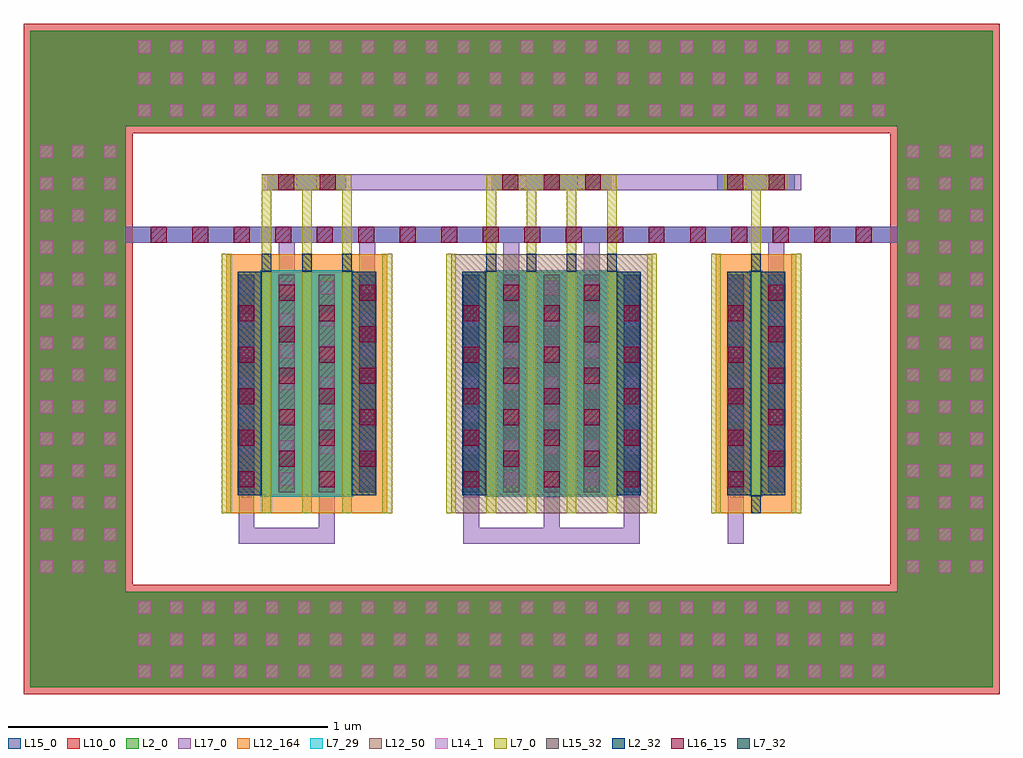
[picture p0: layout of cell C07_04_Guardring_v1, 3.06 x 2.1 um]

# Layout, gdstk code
import gdstk
lib = gdstk.Library(unit=1e-6, precision=1e-09)
def R(c, l, rs):  # rectangles x0, y0, x1, y1
    for r in rs: c.add(gdstk.rectangle(r[:2], r[2:], *l))
def A(c, l, x, y, w, h, nx, ny, dx, dy):  # array of equal rectangles
    R(c, l, [(x+i*dx, y+j*dy, x+i*dx+w, y+j*dy+h) for i in range(nx) for j in range(ny)])
L2_0 = (2, 0)
L2_32 = (2, 32)
L7_0 = (7, 0)
L7_29 = (7, 29)
L7_32 = (7, 32)
L10_0 = (10, 0)
L12_50 = (12, 50)
L12_164 = (12, 164)
L14_1 = (14, 1)
L15_0 = (15, 0)
L15_32 = (15, 32)
L16_15 = (16, 15)
L17_0 = (17, 0)

c07_04_guardring_v1_srf_ = lib.new_cell('C07_04_Guardring_v1:SRF_Tr12Tr3Tr10:SRF_Tr12:SRF_Source_ViaM1M2:SRF_ViaM1M2')
R(c07_04_guardring_v1_srf_, L15_0, [(0,-0.552,0.05,0.082)])
A(c07_04_guardring_v1_srf_, L16_15, 0, -0.52, 0.05, 0.05, 1, 5, 0, 0.13)
R(c07_04_guardring_v1_srf_, L17_0, [(0,-0.552,0.05,0.082)])

c_c07_04_guardring_v1_srf_ = lib.new_cell('C07_04_Guardring_v1:SRF_Tr12Tr3Tr10:SRF_Tr12:SRF_Source_ViaM1M2')
c_c07_04_guardring_v1_srf_.add(gdstk.Reference(c07_04_guardring_v1_srf_, (-0.025,0.235)))

c_c07_04_guardring_v1_srf__ = lib.new_cell('C07_04_Guardring_v1:SRF_Tr12Tr3Tr10:SRF_Tr12:SRF_Drain_ViaM1M2:SRF_ViaM1M2')
R(c_c07_04_guardring_v1_srf__, L15_0, [(0,-0.552,0.05,0.082)])
A(c_c07_04_guardring_v1_srf__, L16_15, 0, -0.52, 0.05, 0.05, 1, 5, 0, 0.13)
R(c_c07_04_guardring_v1_srf__, L17_0, [(0,-0.552,0.05,0.082)])

c_c07_04_guardring_v1_srf___ = lib.new_cell('C07_04_Guardring_v1:SRF_Tr12Tr3Tr10:SRF_Tr12:SRF_Drain_ViaM1M2')
c_c07_04_guardring_v1_srf___.add(gdstk.Reference(c_c07_04_guardring_v1_srf__, (-0.025,0.235)))

c_c07_04_guardring_v1_srf____ = lib.new_cell('C07_04_Guardring_v1:SRF_Tr12Tr3Tr10:SRF_Tr12:SRF_Gate_ViaM0Mx:SRF_ViaM0M1')
R(c_c07_04_guardring_v1_srf____, L7_0, [(-0.01,-0.004,0.15,0.044)])
R(c_c07_04_guardring_v1_srf____, L14_1, [(0,0,0.04,0.04), (0.1,0,0.14,0.04)])
R(c_c07_04_guardring_v1_srf____, L15_0, [(-0.021,-0.005,0.161,0.045)])

c_c07_04_guardring_v1_srf_____ = lib.new_cell('C07_04_Guardring_v1:SRF_Tr12Tr3Tr10:SRF_Tr12:SRF_Gate_ViaM0Mx:SRF_ViaM1M2')
R(c_c07_04_guardring_v1_srf_____, L15_0, [(-0.032,0,0.212,0.05)])
R(c_c07_04_guardring_v1_srf_____, L16_15, [(0,0,0.05,0.05), (0.13,0,0.18,0.05)])
R(c_c07_04_guardring_v1_srf_____, L17_0, [(-0.032,0,0.212,0.05)])

c_c07_04_guardring_v1_srf______ = lib.new_cell('C07_04_Guardring_v1:SRF_Tr12Tr3Tr10:SRF_Tr12:SRF_Gate_ViaM0Mx')
c_c07_04_guardring_v1_srf______.add(gdstk.Reference(c_c07_04_guardring_v1_srf____, (-0.07,-0.02)))
c_c07_04_guardring_v1_srf______.add(gdstk.Reference(c_c07_04_guardring_v1_srf_____, (-0.09,-0.025)))

c_c07_04_guardring_v1_srf_______ = lib.new_cell('C07_04_Guardring_v1:SRF_Tr12Tr3Tr10:SRF_Tr12')
R(c_c07_04_guardring_v1_srf_______, L2_0, [(-0.076,0.057,0.358,0.757)])
R(c_c07_04_guardring_v1_srf_______, L2_32, [(-0.076,0.057,0,0.757), (0.282,0.057,0.358,0.757)])
A(c_c07_04_guardring_v1_srf_______, L7_0, -0.126, 0, 0.03, 0.814, 5, 1, 0.126, 0)
A(c_c07_04_guardring_v1_srf_______, L7_0, 0, 0.814, 0.03, 0.2, 3, 1, 0.126, 0)
R(c_c07_04_guardring_v1_srf_______, L7_0, [(0,1.014,0.282,1.062)])
R(c_c07_04_guardring_v1_srf_______, L7_29, [(-0.005,0.052,0.287,0.762)])
A(c_c07_04_guardring_v1_srf_______, L7_32, 0, 0.757, 0.03, 0.057, 3, 1, 0.126, 0)
R(c_c07_04_guardring_v1_srf_______, L12_164, [(-0.111,0.001,0.393,0.813)])
A(c_c07_04_guardring_v1_srf_______, L14_1, -0.068, 0.087, 0.04, 0.04, 4, 7, 0.126, 0.1)
R(c_c07_04_guardring_v1_srf_______, L15_0, [(-0.073,0.066,-0.023,0.748), (-0.073,0.066,-0.023,0.748), (0.053,0.066,0.103,0.748), (0.053,0.066,0.103,0.748), (0.179,0.066,0.229,0.748), (0.179,0.066,0.229,0.748), (0.305,0.066,0.355,0.748), (0.305,0.066,0.355,0.748)])
A(c_c07_04_guardring_v1_srf_______, L15_32, -0.073, 0.066, 0.05, 0.682, 4, 1, 0.126, 0)
R(c_c07_04_guardring_v1_srf_______, L17_0, [(-0.073,-0.095,0.229,-0.045), (-0.073,-0.045,-0.023,0.684), (0.179,-0.045,0.229,0.684), (0.053,0.748,0.103,0.848), (0.305,0.748,0.355,0.848), (0.053,0.848,0.355,0.898), (0,1.013,0.282,1.063)])
c_c07_04_guardring_v1_srf_______.add(gdstk.Reference(c_c07_04_guardring_v1_srf_, (-0.048,0.367)))
c_c07_04_guardring_v1_srf_______.add(gdstk.Reference(c_c07_04_guardring_v1_srf_, (0.204,0.367)))
c_c07_04_guardring_v1_srf_______.add(gdstk.Reference(c_c07_04_guardring_v1_srf___, (0.078,0.431)))
c_c07_04_guardring_v1_srf_______.add(gdstk.Reference(c_c07_04_guardring_v1_srf___, (0.33,0.431)))
c_c07_04_guardring_v1_srf_______.add(gdstk.Reference(c_c07_04_guardring_v1_srf______, (0.141,1.038)))

c_c07_04_guardring_v1_srf________ = lib.new_cell('C07_04_Guardring_v1:SRF_Tr12Tr3Tr10:SRF_Tr3:SRF_Source_ViaM1M2:SRF_ViaM1M2')
R(c_c07_04_guardring_v1_srf________, L15_0, [(0,-0.552,0.05,0.082)])
A(c_c07_04_guardring_v1_srf________, L16_15, 0, -0.52, 0.05, 0.05, 1, 5, 0, 0.13)
R(c_c07_04_guardring_v1_srf________, L17_0, [(0,-0.552,0.05,0.082)])

c_c07_04_guardring_v1_srf_________ = lib.new_cell('C07_04_Guardring_v1:SRF_Tr12Tr3Tr10:SRF_Tr3:SRF_Source_ViaM1M2')
c_c07_04_guardring_v1_srf_________.add(gdstk.Reference(c_c07_04_guardring_v1_srf________, (-0.025,0.235)))

c_c07_04_guardring_v1_srf__________ = lib.new_cell('C07_04_Guardring_v1:SRF_Tr12Tr3Tr10:SRF_Tr3:SRF_Drain_ViaM1M2:SRF_ViaM1M2')
R(c_c07_04_guardring_v1_srf__________, L15_0, [(0,-0.552,0.05,0.082)])
A(c_c07_04_guardring_v1_srf__________, L16_15, 0, -0.52, 0.05, 0.05, 1, 5, 0, 0.13)
R(c_c07_04_guardring_v1_srf__________, L17_0, [(0,-0.552,0.05,0.082)])

c_c07_04_guardring_v1_srf___________ = lib.new_cell('C07_04_Guardring_v1:SRF_Tr12Tr3Tr10:SRF_Tr3:SRF_Drain_ViaM1M2')
c_c07_04_guardring_v1_srf___________.add(gdstk.Reference(c_c07_04_guardring_v1_srf__________, (-0.025,0.235)))

c_c07_04_guardring_v1_srf____________ = lib.new_cell('C07_04_Guardring_v1:SRF_Tr12Tr3Tr10:SRF_Tr3:SRF_Gate_ViaM0Mx:SRF_ViaM0M1')
R(c_c07_04_guardring_v1_srf____________, L7_0, [(-0.01,-0.004,0.25,0.044)])
A(c_c07_04_guardring_v1_srf____________, L14_1, 0, 0, 0.04, 0.04, 3, 1, 0.1, 0)
R(c_c07_04_guardring_v1_srf____________, L15_0, [(-0.021,-0.005,0.261,0.045)])

c_c07_04_guardring_v1_srf_____________ = lib.new_cell('C07_04_Guardring_v1:SRF_Tr12Tr3Tr10:SRF_Tr3:SRF_Gate_ViaM0Mx:SRF_ViaM1M2')
R(c_c07_04_guardring_v1_srf_____________, L15_0, [(-0.032,0,0.342,0.05)])
A(c_c07_04_guardring_v1_srf_____________, L16_15, 0, 0, 0.05, 0.05, 3, 1, 0.13, 0)
R(c_c07_04_guardring_v1_srf_____________, L17_0, [(-0.032,0,0.342,0.05)])

c_c07_04_guardring_v1_srf______________ = lib.new_cell('C07_04_Guardring_v1:SRF_Tr12Tr3Tr10:SRF_Tr3:SRF_Gate_ViaM0Mx')
c_c07_04_guardring_v1_srf______________.add(gdstk.Reference(c_c07_04_guardring_v1_srf____________, (-0.12,-0.02)))
c_c07_04_guardring_v1_srf______________.add(gdstk.Reference(c_c07_04_guardring_v1_srf_____________, (-0.155,-0.025)))

c_c07_04_guardring_v1_srf_______________ = lib.new_cell('C07_04_Guardring_v1:SRF_Tr12Tr3Tr10:SRF_Tr3')
R(c_c07_04_guardring_v1_srf_______________, L2_0, [(-0.076,0.057,0.484,0.757)])
R(c_c07_04_guardring_v1_srf_______________, L2_32, [(-0.076,0.057,0,0.757), (0.408,0.057,0.484,0.757)])
A(c_c07_04_guardring_v1_srf_______________, L7_0, -0.126, 0, 0.03, 0.814, 6, 1, 0.126, 0)
A(c_c07_04_guardring_v1_srf_______________, L7_0, 0, 0.814, 0.03, 0.2, 4, 1, 0.126, 0)
R(c_c07_04_guardring_v1_srf_______________, L7_0, [(0,1.014,0.408,1.062)])
R(c_c07_04_guardring_v1_srf_______________, L7_29, [(-0.005,0.052,0.413,0.762)])
A(c_c07_04_guardring_v1_srf_______________, L7_32, 0, 0.757, 0.03, 0.057, 4, 1, 0.126, 0)
R(c_c07_04_guardring_v1_srf_______________, L12_50, [(-0.111,0.001,0.519,0.813)])
A(c_c07_04_guardring_v1_srf_______________, L14_1, -0.068, 0.087, 0.04, 0.04, 5, 7, 0.126, 0.1)
R(c_c07_04_guardring_v1_srf_______________, L15_0, [(-0.073,0.066,-0.023,0.748), (-0.073,0.066,-0.023,0.748), (0.053,0.066,0.103,0.748), (0.053,0.066,0.103,0.748), (0.179,0.066,0.229,0.748), (0.179,0.066,0.229,0.748), (0.305,0.066,0.355,0.748), (0.305,0.066,0.355,0.748), (0.431,0.066,0.481,0.748), (0.431,0.066,0.481,0.748)])
A(c_c07_04_guardring_v1_srf_______________, L15_32, -0.073, 0.066, 0.05, 0.682, 5, 1, 0.126, 0)
A(c_c07_04_guardring_v1_srf_______________, L17_0, -0.073, -0.045, 0.05, 0.729, 3, 1, 0.252, 0)
R(c_c07_04_guardring_v1_srf_______________, L17_0, [(-0.073,-0.095,0.481,-0.045), (0.053,0.748,0.103,0.848), (0.305,0.748,0.355,0.848), (0.053,0.848,0.355,0.898), (0,1.013,0.408,1.063)])
c_c07_04_guardring_v1_srf_______________.add(gdstk.Reference(c_c07_04_guardring_v1_srf_________, (-0.048,0.367)))
c_c07_04_guardring_v1_srf_______________.add(gdstk.Reference(c_c07_04_guardring_v1_srf_________, (0.204,0.367)))
c_c07_04_guardring_v1_srf_______________.add(gdstk.Reference(c_c07_04_guardring_v1_srf_________, (0.456,0.367)))
c_c07_04_guardring_v1_srf_______________.add(gdstk.Reference(c_c07_04_guardring_v1_srf___________, (0.078,0.431)))
c_c07_04_guardring_v1_srf_______________.add(gdstk.Reference(c_c07_04_guardring_v1_srf___________, (0.33,0.431)))
c_c07_04_guardring_v1_srf_______________.add(gdstk.Reference(c_c07_04_guardring_v1_srf______________, (0.204,1.038)))

c_c07_04_guardring_v1_srf________________ = lib.new_cell('C07_04_Guardring_v1:SRF_Tr12Tr3Tr10:SRF_Tr10:SRF_Source_ViaM1M2:SRF_ViaM1M2')
R(c_c07_04_guardring_v1_srf________________, L15_0, [(0,-0.552,0.05,0.082)])
A(c_c07_04_guardring_v1_srf________________, L16_15, 0, -0.52, 0.05, 0.05, 1, 5, 0, 0.13)
R(c_c07_04_guardring_v1_srf________________, L17_0, [(0,-0.552,0.05,0.082)])

c_c07_04_guardring_v1_srf_________________ = lib.new_cell('C07_04_Guardring_v1:SRF_Tr12Tr3Tr10:SRF_Tr10:SRF_Source_ViaM1M2')
c_c07_04_guardring_v1_srf_________________.add(gdstk.Reference(c_c07_04_guardring_v1_srf________________, (-0.025,0.235)))

c_c07_04_guardring_v1_srf__________________ = lib.new_cell('C07_04_Guardring_v1:SRF_Tr12Tr3Tr10:SRF_Tr10:SRF_Drain_ViaM1M2:SRF_ViaM1M2')
R(c_c07_04_guardring_v1_srf__________________, L15_0, [(0,-0.552,0.05,0.082)])
A(c_c07_04_guardring_v1_srf__________________, L16_15, 0, -0.52, 0.05, 0.05, 1, 5, 0, 0.13)
R(c_c07_04_guardring_v1_srf__________________, L17_0, [(0,-0.552,0.05,0.082)])

c_c07_04_guardring_v1_srf___________________ = lib.new_cell('C07_04_Guardring_v1:SRF_Tr12Tr3Tr10:SRF_Tr10:SRF_Drain_ViaM1M2')
c_c07_04_guardring_v1_srf___________________.add(gdstk.Reference(c_c07_04_guardring_v1_srf__________________, (-0.025,0.235)))

c_c07_04_guardring_v1_srf____________________ = lib.new_cell('C07_04_Guardring_v1:SRF_Tr12Tr3Tr10:SRF_Tr10:SRF_Gate_ViaM0Mx:SRF_ViaM0M1')
R(c_c07_04_guardring_v1_srf____________________, L7_0, [(-0.01,-0.004,0.15,0.044)])
R(c_c07_04_guardring_v1_srf____________________, L14_1, [(0,0,0.04,0.04), (0.1,0,0.14,0.04)])
R(c_c07_04_guardring_v1_srf____________________, L15_0, [(-0.021,-0.005,0.161,0.045)])

c_c07_04_guardring_v1_srf_____________________ = lib.new_cell('C07_04_Guardring_v1:SRF_Tr12Tr3Tr10:SRF_Tr10:SRF_Gate_ViaM0Mx:SRF_ViaM1M2')
R(c_c07_04_guardring_v1_srf_____________________, L15_0, [(-0.032,0,0.212,0.05)])
R(c_c07_04_guardring_v1_srf_____________________, L16_15, [(0,0,0.05,0.05), (0.13,0,0.18,0.05)])
R(c_c07_04_guardring_v1_srf_____________________, L17_0, [(-0.032,0,0.212,0.05)])

c_c07_04_guardring_v1_srf______________________ = lib.new_cell('C07_04_Guardring_v1:SRF_Tr12Tr3Tr10:SRF_Tr10:SRF_Gate_ViaM0Mx')
c_c07_04_guardring_v1_srf______________________.add(gdstk.Reference(c_c07_04_guardring_v1_srf____________________, (-0.07,-0.02)))
c_c07_04_guardring_v1_srf______________________.add(gdstk.Reference(c_c07_04_guardring_v1_srf_____________________, (-0.09,-0.025)))

c_c07_04_guardring_v1_srf_______________________ = lib.new_cell('C07_04_Guardring_v1:SRF_Tr12Tr3Tr10:SRF_Tr10')
R(c_c07_04_guardring_v1_srf_______________________, L2_0, [(-0.076,0.057,0.106,0.757)])
R(c_c07_04_guardring_v1_srf_______________________, L2_32, [(-0.076,0.057,0,0.757), (0.03,0.057,0.106,0.757)])
A(c_c07_04_guardring_v1_srf_______________________, L7_0, -0.126, 0, 0.03, 0.814, 3, 1, 0.126, 0)
R(c_c07_04_guardring_v1_srf_______________________, L7_0, [(0,0.814,0.03,1.014), (-0.085,1.014,0.115,1.062)])
R(c_c07_04_guardring_v1_srf_______________________, L7_29, [(-0.005,0.052,0.035,0.762)])
R(c_c07_04_guardring_v1_srf_______________________, L7_32, [(0,0,0.03,0.057), (0,0.757,0.03,0.814)])
R(c_c07_04_guardring_v1_srf_______________________, L12_164, [(-0.111,0.001,0.141,0.813)])
A(c_c07_04_guardring_v1_srf_______________________, L14_1, -0.068, 0.087, 0.04, 0.04, 1, 7, 0, 0.1)
A(c_c07_04_guardring_v1_srf_______________________, L14_1, 0.058, 0.087, 0.04, 0.04, 1, 7, 0, 0.1)
R(c_c07_04_guardring_v1_srf_______________________, L15_0, [(-0.073,0.066,-0.023,0.748), (-0.073,0.066,-0.023,0.748), (0.053,0.066,0.103,0.748), (0.053,0.066,0.103,0.748)])
R(c_c07_04_guardring_v1_srf_______________________, L15_32, [(-0.073,0.066,-0.023,0.748), (0.053,0.066,0.103,0.748)])
R(c_c07_04_guardring_v1_srf_______________________, L17_0, [(-0.073,-0.095,-0.023,-0.045), (-0.073,-0.045,-0.023,0.684), (0.053,0.748,0.103,0.848), (0.053,0.848,0.103,0.898), (-0.127,1.013,0.157,1.063)])
c_c07_04_guardring_v1_srf_______________________.add(gdstk.Reference(c_c07_04_guardring_v1_srf_________________, (-0.048,0.367)))
c_c07_04_guardring_v1_srf_______________________.add(gdstk.Reference(c_c07_04_guardring_v1_srf___________________, (0.078,0.431)))
c_c07_04_guardring_v1_srf_______________________.add(gdstk.Reference(c_c07_04_guardring_v1_srf______________________, (0.015,1.038)))

c_c07_04_guardring_v1_srf________________________ = lib.new_cell('C07_04_Guardring_v1:SRF_Tr12Tr3Tr10')
c_c07_04_guardring_v1_srf________________________.add(gdstk.Reference(c_c07_04_guardring_v1_srf_______, (0,0)))
c_c07_04_guardring_v1_srf________________________.add(gdstk.Reference(c_c07_04_guardring_v1_srf_______________, (0.704,0)))
c_c07_04_guardring_v1_srf________________________.add(gdstk.Reference(c_c07_04_guardring_v1_srf_______________________, (1.534,0)))

c07_04_guardring_v1__pbo = lib.new_cell('C07_04_Guardring_v1:_Pbodyring:SRF_PbodyTop:SRF_PbodyContactPhyLen')
R(c07_04_guardring_v1__pbo, L2_0, [(-0.038,-0.23,2.379,0.07)])
R(c07_04_guardring_v1__pbo, L10_0, [(-0.06,-0.251,2.399,0.091)])
A(c07_04_guardring_v1__pbo, L14_1, 0, -0.2, 0.04, 0.04, 24, 3, 0.1, 0.1)
R(c07_04_guardring_v1__pbo, L15_0, [(-0.038,-0.23,2.379,0.07)])

c_c07_04_guardring_v1__pbo = lib.new_cell('C07_04_Guardring_v1:_Pbodyring:SRF_PbodyTop')
c_c07_04_guardring_v1__pbo.add(gdstk.Reference(c07_04_guardring_v1__pbo, (0,0)))

c_c07_04_guardring_v1__pbo_ = lib.new_cell('C07_04_Guardring_v1:_Pbodyring:SRF_PbodyBottom:SRF_PbodyContactPhyLen')
R(c_c07_04_guardring_v1__pbo_, L2_0, [(-0.038,-0.23,2.379,0.07)])
R(c_c07_04_guardring_v1__pbo_, L10_0, [(-0.06,-0.251,2.399,0.091)])
A(c_c07_04_guardring_v1__pbo_, L14_1, 0, -0.2, 0.04, 0.04, 24, 3, 0.1, 0.1)
R(c_c07_04_guardring_v1__pbo_, L15_0, [(-0.038,-0.23,2.379,0.07)])

c_c07_04_guardring_v1__pbo__ = lib.new_cell('C07_04_Guardring_v1:_Pbodyring:SRF_PbodyBottom')
c_c07_04_guardring_v1__pbo__.add(gdstk.Reference(c_c07_04_guardring_v1__pbo_, (0,0)))

c_c07_04_guardring_v1__pbo___ = lib.new_cell('C07_04_Guardring_v1:_Pbodyring:SRF_PbodyLeft:SRF_PbodyContactPhyLen')
R(c_c07_04_guardring_v1__pbo___, L2_0, [(-0.03,-1.359,0.27,0.099)])
R(c_c07_04_guardring_v1__pbo___, L10_0, [(-0.051,-1.38,0.291,0.12)])
A(c_c07_04_guardring_v1__pbo___, L14_1, 0, -1.3, 0.04, 0.04, 3, 14, 0.1, 0.1)
R(c_c07_04_guardring_v1__pbo___, L15_0, [(-0.03,-1.359,0.27,0.099)])

c_c07_04_guardring_v1__pbo____ = lib.new_cell('C07_04_Guardring_v1:_Pbodyring:SRF_PbodyLeft')
c_c07_04_guardring_v1__pbo____.add(gdstk.Reference(c_c07_04_guardring_v1__pbo___, (0,0)))

c_c07_04_guardring_v1__pbo_____ = lib.new_cell('C07_04_Guardring_v1:_Pbodyring:SRF_PbodyRight:SRF_PbodyContactPhyLen')
R(c_c07_04_guardring_v1__pbo_____, L2_0, [(-0.03,-1.359,0.27,0.099)])
R(c_c07_04_guardring_v1__pbo_____, L10_0, [(-0.051,-1.38,0.291,0.12)])
A(c_c07_04_guardring_v1__pbo_____, L14_1, 0, -1.3, 0.04, 0.04, 3, 14, 0.1, 0.1)
R(c_c07_04_guardring_v1__pbo_____, L15_0, [(-0.03,-1.359,0.27,0.099)])

c_c07_04_guardring_v1__pbo______ = lib.new_cell('C07_04_Guardring_v1:_Pbodyring:SRF_PbodyRight')
c_c07_04_guardring_v1__pbo______.add(gdstk.Reference(c_c07_04_guardring_v1__pbo_____, (0,0)))

c_c07_04_guardring_v1__pbo_______ = lib.new_cell('C07_04_Guardring_v1:_Pbodyring')
R(c_c07_04_guardring_v1__pbo_______, L2_0, [(-0.338,-1.988,2.679,-1.688), (-0.338,-1.988,-0.038,0.07), (2.379,-1.988,2.679,0.07), (-0.338,-0.23,2.679,0.07)])
R(c_c07_04_guardring_v1__pbo_______, L10_0, [(-0.359,-2.009,2.7,-1.667), (-0.359,-2.009,-0.017,0.091), (2.358,-2.009,2.7,0.091), (-0.359,-0.251,2.7,0.091)])
R(c_c07_04_guardring_v1__pbo_______, L15_0, [(-0.338,-1.988,2.679,-1.688), (-0.338,-1.988,-0.038,0.07), (2.379,-1.988,2.679,0.07), (-0.338,-0.23,2.679,0.07)])
c_c07_04_guardring_v1__pbo_______.add(gdstk.Reference(c_c07_04_guardring_v1__pbo, (0,0)))
c_c07_04_guardring_v1__pbo_______.add(gdstk.Reference(c_c07_04_guardring_v1__pbo__, (0,-1.758)))
c_c07_04_guardring_v1__pbo_______.add(gdstk.Reference(c_c07_04_guardring_v1__pbo____, (-0.308,-0.329)))
c_c07_04_guardring_v1__pbo_______.add(gdstk.Reference(c_c07_04_guardring_v1__pbo______, (2.409,-0.329)))

c_c07_04_guardring_v1_srf_________________________ = lib.new_cell('C07_04_Guardring_v1:SRF_Tr12Tr3Tr10_Drain_ViaM1M2:SRF_ViaM1M2')
R(c_c07_04_guardring_v1_srf_________________________, L15_0, [(-0.032,0,2.292,0.05)])
A(c_c07_04_guardring_v1_srf_________________________, L16_15, 0, 0, 0.05, 0.05, 18, 1, 0.13, 0)
R(c_c07_04_guardring_v1_srf_________________________, L17_0, [(-0.032,0,2.292,0.05)])

c_c07_04_guardring_v1_srf__________________________ = lib.new_cell('C07_04_Guardring_v1:SRF_Tr12Tr3Tr10_Drain_ViaM1M2')
c_c07_04_guardring_v1_srf__________________________.add(gdstk.Reference(c_c07_04_guardring_v1_srf_________________________, (-1.13,-0.025)))

c07_04_guardring_v1 = lib.new_cell('C07_04_Guardring_v1')
R(c07_04_guardring_v1, L15_0, [(-0.426,0.848,1.991,0.898)])
R(c07_04_guardring_v1, L17_0, [(-0.426,0.848,1.991,0.898), (0,1.013,1.691,1.063)])
c07_04_guardring_v1.add(gdstk.Reference(c_c07_04_guardring_v1_srf________________________, (0,0)))
c07_04_guardring_v1.add(gdstk.Reference(c_c07_04_guardring_v1__pbo_______, (-0.388,1.443)))
c07_04_guardring_v1.add(gdstk.Reference(c_c07_04_guardring_v1_srf__________________________, (0.782,0.873)))

lib.write_gds('C07_04_Guardring_v1.gds')
